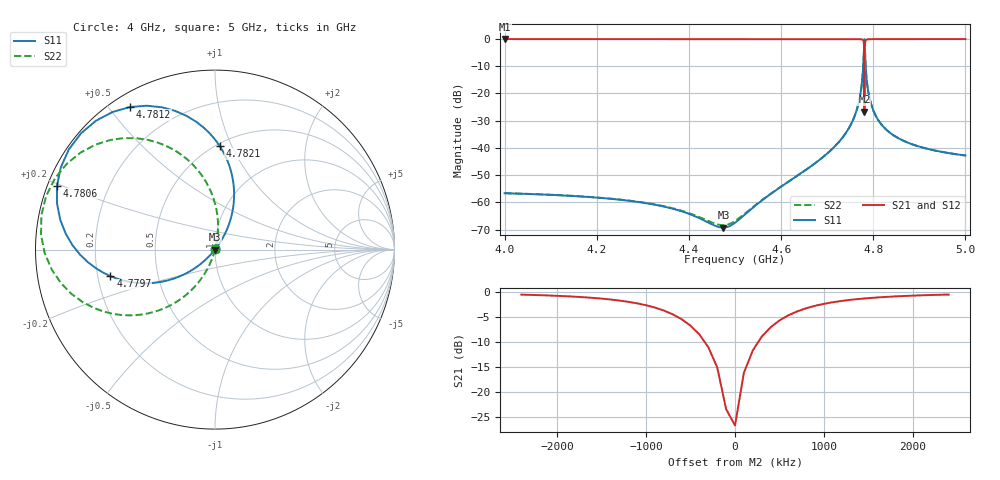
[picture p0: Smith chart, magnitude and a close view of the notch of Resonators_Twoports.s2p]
! Sonnet Data File
! From: emgraph Version : 14.52
! From Emgraph Data: Resonators_Twoports
! Data File Written: 05/17/2020 11:34:06
!< HDATE 05/17/2020 11:20:47
!< MDATE 05/17/2020 11:27:32
# GHZ S MA R 50.00000
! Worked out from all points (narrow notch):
!   398 points, 4 GHz to 5 GHz, reference 50 ohm
!   highest |S21| = 0.00 dB at 4 GHz (marker M1); lowest = -26.6 dB at 4.7809 GHz (marker M2)
!   notch at M2: 26.6 dB deep, 405 kHz wide at half that depth
!   lowest |S11| = -69.3 dB at 4.475 GHz (marker M3), VSWR 1.00, Z = 50 + j0.0201 ohm
!   |S11| at or under -10 dB: start of sweep to 4.7782 GHz; 4.7835 GHz to end of sweep
!   |S22| runs from -68.4 to -0.1 dB; largest |S21 - S12| = 1.5e-11
!   S11 on the Smith chart (normalised r, x): 4 GHz: 1.00, +0.00; 4.7797 GHz: 0.25, -0.12; 4.7806 GHz: 0.03, +0.19; 4.7812 GHz: 0.05, +0.57; 4.7821 GHz: 0.52, +0.90; 5 GHz: 1.01, +0.01
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4  0.001469 68.8  1 -22.2  1 -22.2  0.001473 65.6
!< P1 F=4.0 Eeff=(6.45259103 -3.6167e-5) Z0=(49.7246154 -1.2553e-4) R=0.0 C=0.00758878
!< P2 F=4.0 Eeff=(6.45259103 -3.6167e-5) Z0=(49.7246154 -1.2553e-4) R=0.0 C=0.00758878
4.17  0.001274 70.2  1 -23.2  1 -23.2  0.00128 62.0
4.335  0.0008737 76.9  1 -24.1  1 -24.1  0.000886 52.7
4.475  0.0003423 144.1  1 -25.0  1 -25.0  0.0003798 -14.1
4.5  0.000421 178.6  1 -25.1  1 -25.1  0.0004528 -46.1
4.67  0.004949 -132.1  1 -26.3  1 -26.3  0.004947 -100.1
4.725  0.01272 -130.3  0.9999 -27.1  0.9999 -27.1  0.01271 -103.7
4.755  0.03098 -130.6  0.9995 -28.3  0.9995 -28.3  0.03094 -105.9
4.7724  0.1005 -134.3  0.9948 -32.4  0.9948 -32.4  0.1004 -110.6
4.7776  0.2578 -143.5  0.9654 -41.6  0.9654 -41.6  0.2575 -120.0
4.7797  0.6009 -165.8  0.7945 -63.6  0.7945 -63.6  0.6001 -142.4
4.7803  0.8371 173.9  0.5332 -83.4  0.5332 -83.4  0.8361 -162.8
4.7806  0.9498 157.9  0.2806 -98.2  0.2806 -98.2  0.9486 -178.7
4.7809  0.9885 139.1  0.04655 47.0  0.04655 47.0  0.9872 162.4
4.781  0.9774 132.7  0.156 50.3  0.156 50.3  0.9762 156.0
4.7812  0.9244 120.8  0.3569 40.8  0.3569 40.8  0.9232 144.1
4.7821  0.5785 87.5  0.8113 8.6  0.8113 8.6  0.5778 110.7
4.7834  0.3298 71.2  0.9428 -7.4  0.9428 -7.4  0.3293 94.4
4.7853  0.1974 63.2  0.9799 -15.3  0.9799 -15.3  0.1971 86.4
4.795  0.06523 55.7  0.9978 -23.0  0.9978 -23.0  0.06514 78.4
4.8337  0.01978 53.5  0.9998 -25.8  0.9998 -25.8  0.01976 74.7
5  0.007263 53.7  0.9999 -27.5  0.9999 -27.5  0.007255 71.0
